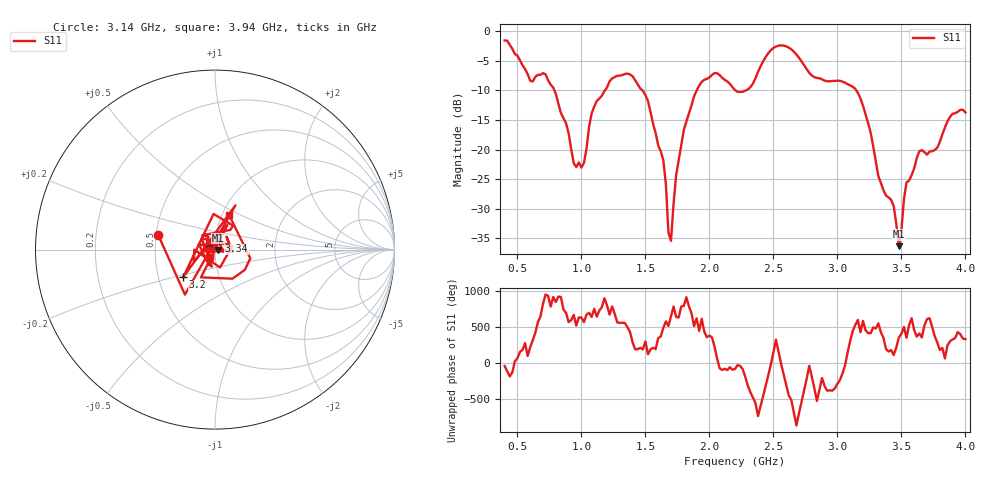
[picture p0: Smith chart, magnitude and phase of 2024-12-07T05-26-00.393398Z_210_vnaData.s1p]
!Created with skrf (http://scikit-rf.org).
# Hz S RI R 50.0
!freq ReS11 ImS11
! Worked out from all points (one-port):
!   181 points, 400 MHz to 4 GHz, reference 50 ohm
!   lowest |S11| = -36.3 dB at 3.48 GHz (marker M1), VSWR 1.03, Z = 51.5 - j0.181 ohm
!   |S11| at or under -10 dB: 789.4 MHz to 1.183 GHz (393.6 MHz wide, 39.9 % of centre); 1.478 GHz to 1.9 GHz (422.7 MHz wide, 25 % of centre); 3.148 GHz to end of sweep (the widest 3 of 4)
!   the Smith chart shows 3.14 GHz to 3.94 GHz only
!   S11 on the Smith chart (normalised r, x): 3.14 GHz: 0.51, +0.09; 3.2 GHz: 0.67, -0.22; 3.34 GHz: 1.04, +0.10; 3.94 GHz: 1.08, +0.44
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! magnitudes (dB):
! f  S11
! 400 MHz  -1.5
! 600 MHz  -8.3
! 720 MHz  -7.3
! 860 MHz  -14.7
! 940 MHz  -22.3
! 1 GHz  -23.0
! 1.1 GHz  -12.7
! 1.3 GHz  -7.5
! 1.52 GHz  -11.8
! 1.64 GHz  -21.8
! 1.68 GHz  -34.0
! 1.7 GHz  -35.4
! 1.76 GHz  -21.9
! 1.94 GHz  -8.5
! 2.2 GHz  -9.9
! 2.5 GHz  -2.8
! 2.66 GHz  -3.4
! 3.1 GHz  -9.1
! 3.14 GHz  -9.7
! 3.2 GHz  -12.6
! 3.34 GHz  -25.6
! 3.44 GHz  -29.6
! 3.48 GHz  -36.3
! 3.56 GHz  -25.2
! 3.64 GHz  -20.3
! 3.78 GHz  -19.7
! 3.94 GHz  -13.6
! 4 GHz  -13.7
